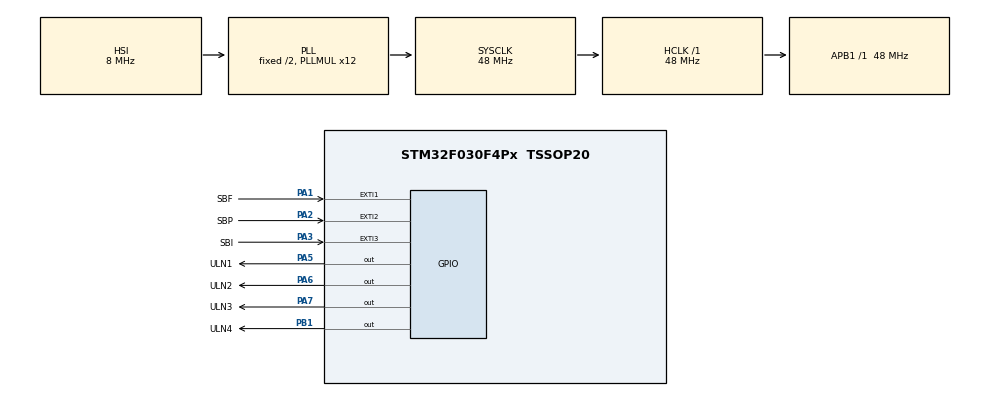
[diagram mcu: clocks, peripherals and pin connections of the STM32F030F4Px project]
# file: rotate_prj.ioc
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Mcu.Family=STM32F0
Mcu.Name=STM32F030F4Px
Mcu.Package=TSSOP20
NVIC.EXTI0_1_IRQn=true\:0\:0\:true\:false\:true\:true
NVIC.EXTI2_3_IRQn=true\:0\:0\:true\:false\:true\:true
PA1.GPIO_Label=SBF
PA1.Signal=GPXTI1
PA13.Mode=Serial_Wire
PA13.Signal=SYS_SWDIO
PA14.Mode=Serial_Wire
PA14.Signal=SYS_SWCLK
PA2.GPIO_Label=SBP
PA2.Signal=GPXTI2
PA3.GPIO_Label=SBI
PA3.Signal=GPXTI3
PA5.GPIO_Label=ULN1
PA5.Signal=GPIO_Output
PA6.GPIO_Label=ULN2
PA6.Signal=GPIO_Output
PA7.GPIO_Label=ULN3
PA7.Signal=GPIO_Output
PB1.GPIO_Label=ULN4
PB1.Signal=GPIO_Output
ProjectManager.HeapSize=0x200
ProjectManager.StackSize=0x400
ProjectManager.TargetToolchain=MDK-ARM V5
RCC.AHBFreq_Value=48000000
RCC.APB1Freq_Value=48000000
RCC.APB1TimFreq_Value=48000000
RCC.HCLKFreq_Value=48000000
RCC.PLLMUL=RCC_PLL_MUL12
RCC.SYSCLKFreq_VALUE=48000000
RCC.SYSCLKSource=RCC_SYSCLKSOURCE_PLLCLK
board=rotate_prj

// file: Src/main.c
/**
  ******************************************************************************
  * File Name          : main.c
  * Description        : Main program body
  ******************************************************************************
  ** This notice applies to any and all portions of this file
  * that are not between comment pairs USER CODE BEGIN and
  * USER CODE END. Other portions of this file, whether
  * inserted by the user or by software development tools
  * are owned by their respective copyright owners.
  *
  * COPYRIGHT(c) 2018 STMicroelectronics
  *
  * Redistribution and use in source and binary forms, with or without modification,
  * are permitted provided that the following conditions are met:
  *   1. Redistributions of source code must retain the above copyright notice,
  *      this list of conditions and the following disclaimer.
  *   2. Redistributions in binary form must reproduce the above copyright notice,
  *      this list of conditions and the following disclaimer in the documentation
  *      and/or other materials provided with the distribution.
  *   3. Neither the name of STMicroelectronics nor the names of its contributors
  *      may be used to endorse or promote products derived from this software
  *      without specific prior written permission.
  *
  * THIS SOFTWARE IS PROVIDED BY THE COPYRIGHT HOLDERS AND CONTRIBUTORS "AS IS"
  * AND ANY EXPRESS OR IMPLIED WARRANTIES, INCLUDING, BUT NOT LIMITED TO, THE
  * IMPLIED WARRANTIES OF MERCHANTABILITY AND FITNESS FOR A PARTICULAR PURPOSE ARE
  * DISCLAIMED. IN NO EVENT SHALL THE COPYRIGHT HOLDER OR CONTRIBUTORS BE LIABLE
  * FOR ANY DIRECT, INDIRECT, INCIDENTAL, SPECIAL, EXEMPLARY, OR CONSEQUENTIAL
  * DAMAGES (INCLUDING, BUT NOT LIMITED TO, PROCUREMENT OF SUBSTITUTE GOODS OR
  * SERVICES; LOSS OF USE, DATA, OR PROFITS; OR BUSINESS INTERRUPTION) HOWEVER
  * CAUSED AND ON ANY THEORY OF LIABILITY, WHETHER IN CONTRACT, STRICT LIABILITY,
  * OR TORT (INCLUDING NEGLIGENCE OR OTHERWISE) ARISING IN ANY WAY OUT OF THE USE
  * OF THIS SOFTWARE, EVEN IF ADVISED OF THE POSSIBILITY OF SUCH DAMAGE.
  *
  ******************************************************************************
  */
#include "main.h"
#include "stm32f0xx_hal.h"

/* USER CODE BEGIN Includes */
#include "stepper_conf.h"
/* USER CODE END Includes */

/* USER CODE BEGIN PV */
/* Private variables ---------------------------------------------------------*/
int Rotation_now = Off;
int Rotation_pre = Off;
int Rotation_tbl[4] = { 2, 1, 0, -1 };
/* USER CODE END PV */

void SystemClock_Config(void);
static void MX_GPIO_Init(void);

/* USER CODE BEGIN PFP */
/* Private function prototypes -----------------------------------------------*/

/* USER CODE END PFP */

int main(void)
{

  /* MCU Configuration----------------------------------------------------------*/

  /* Reset of all peripherals, Initializes the Flash interface and the Systick. */
  HAL_Init();

  /* Configure the system clock */
  SystemClock_Config();

  /* Initialize all configured peripherals */
  MX_GPIO_Init();

  /* USER CODE BEGIN 2 */
	Stepper(stepsPerRevolution);
	HAL_Delay(50);
	step(-15);
  /* USER CODE END 2 */

  /* Infinite loop */
  while (1)
  {

  /* USER CODE BEGIN 3 */
		if(Rotation_now != Rotation_pre){
				switch (Rotation_now){
					case In:
						step(Rotation_tbl[Rotation_now] * 3);
						Rotation_tbl[0] = 1; Rotation_tbl[1] = 0; Rotation_tbl[2] = -1; Rotation_tbl[3] = -2;
						Rotation_pre = Rotation_now;
					break;
					case Partial:
						step(Rotation_tbl[Rotation_now] * 3);
						Rotation_tbl[0] = 0; Rotation_tbl[1] = -1; Rotation_tbl[2] = -2; Rotation_tbl[3] = -3;
						Rotation_pre = Rotation_now;
					break;
					case Full:
						step(Rotation_tbl[Rotation_now] * 3);
						Rotation_tbl[0] = 3; Rotation_tbl[1] = 2; Rotation_tbl[2] = 1; Rotation_tbl[3] = 0;
						Rotation_pre = Rotation_now;
					break;
					case Off:
						step(Rotation_tbl[2] * 3);
						Rotation_tbl[0] = 2; Rotation_tbl[1] = 1; Rotation_tbl[2] = 0; Rotation_tbl[3] = -1;
						Rotation_pre = Rotation_now;
					default:
						break;
				}
		}
		if((HAL_GPIO_ReadPin(GPIOA, SBF_Pin) == 0)&&(HAL_GPIO_ReadPin(GPIOA, SBP_Pin) == 0)&&(HAL_GPIO_ReadPin(GPIOA, SBI_Pin) == 0)){
				Rotation_now = Off;
		}
  }
  /* USER CODE END 3 */
}

/** System Clock Configuration
*/
void SystemClock_Config(void)
{

  RCC_OscInitTypeDef RCC_OscInitStruct;
  RCC_ClkInitTypeDef RCC_ClkInitStruct;

    /**Initializes the CPU, AHB and APB busses clocks
    */
  RCC_OscInitStruct.OscillatorType = RCC_OSCILLATORTYPE_HSI;
  RCC_OscInitStruct.HSIState = RCC_HSI_ON;
  RCC_OscInitStruct.HSICalibrationValue = 16;
  RCC_OscInitStruct.PLL.PLLState = RCC_PLL_ON;
  RCC_OscInitStruct.PLL.PLLSource = RCC_PLLSOURCE_HSI;
  RCC_OscInitStruct.PLL.PLLMUL = RCC_PLL_MUL12;
  RCC_OscInitStruct.PLL.PREDIV = RCC_PREDIV_DIV1;
  if (HAL_RCC_OscConfig(&RCC_OscInitStruct) != HAL_OK)
  {
    _Error_Handler(__FILE__, __LINE__);
  }

    /**Initializes the CPU, AHB and APB busses clocks
    */
  RCC_ClkInitStruct.ClockType = RCC_CLOCKTYPE_HCLK|RCC_CLOCKTYPE_SYSCLK
                              |RCC_CLOCKTYPE_PCLK1;
  RCC_ClkInitStruct.SYSCLKSource = RCC_SYSCLKSOURCE_PLLCLK;
  RCC_ClkInitStruct.AHBCLKDivider = RCC_SYSCLK_DIV1;
  RCC_ClkInitStruct.APB1CLKDivider = RCC_HCLK_DIV1;

  if (HAL_RCC_ClockConfig(&RCC_ClkInitStruct, FLASH_LATENCY_1) != HAL_OK)
  {
    _Error_Handler(__FILE__, __LINE__);
  }

    /**Configure the Systick interrupt time
    */
  HAL_SYSTICK_Config(HAL_RCC_GetHCLKFreq()/1000);

    /**Configure the Systick
    */
  HAL_SYSTICK_CLKSourceConfig(SYSTICK_CLKSOURCE_HCLK);

  /* SysTick_IRQn interrupt configuration */
  HAL_NVIC_SetPriority(SysTick_IRQn, 0, 0);
}

/** Configure pins as
        * Analog
        * Input
        * Output
        * EVENT_OUT
        * EXTI
*/
static void MX_GPIO_Init(void)
{

  GPIO_InitTypeDef GPIO_InitStruct;

  /* GPIO Ports Clock Enable */
  __HAL_RCC_GPIOA_CLK_ENABLE();
  __HAL_RCC_GPIOB_CLK_ENABLE();

  /*Configure GPIO pin Output Level */
  HAL_GPIO_WritePin(GPIOA, ULN1_Pin|ULN2_Pin|ULN3_Pin, GPIO_PIN_RESET);

  /*Configure GPIO pin Output Level */
  HAL_GPIO_WritePin(ULN4_GPIO_Port, ULN4_Pin, GPIO_PIN_RESET);

  /*Configure GPIO pins : SBF_Pin SBP_Pin SBI_Pin */
  GPIO_InitStruct.Pin = SBF_Pin|SBP_Pin|SBI_Pin;
  GPIO_InitStruct.Mode = GPIO_MODE_IT_RISING;
  GPIO_InitStruct.Pull = GPIO_NOPULL;
  HAL_GPIO_Init(GPIOA, &GPIO_InitStruct);

  /*Configure GPIO pins : ULN1_Pin ULN2_Pin ULN3_Pin */
  GPIO_InitStruct.Pin = ULN1_Pin|ULN2_Pin|ULN3_Pin;
  GPIO_InitStruct.Mode = GPIO_MODE_OUTPUT_PP;
  GPIO_InitStruct.Pull = GPIO_NOPULL;
  GPIO_InitStruct.Speed = GPIO_SPEED_FREQ_LOW;
  HAL_GPIO_Init(GPIOA, &GPIO_InitStruct);

  /*Configure GPIO pin : ULN4_Pin */
  GPIO_InitStruct.Pin = ULN4_Pin;
  GPIO_InitStruct.Mode = GPIO_MODE_OUTPUT_PP;
  GPIO_InitStruct.Pull = GPIO_NOPULL;
  GPIO_InitStruct.Speed = GPIO_SPEED_FREQ_LOW;
  HAL_GPIO_Init(ULN4_GPIO_Port, &GPIO_InitStruct);

  /* EXTI interrupt init*/
  HAL_NVIC_SetPriority(EXTI0_1_IRQn, 0, 0);
  HAL_NVIC_EnableIRQ(EXTI0_1_IRQn);

  HAL_NVIC_SetPriority(EXTI2_3_IRQn, 0, 0);
  HAL_NVIC_EnableIRQ(EXTI2_3_IRQn);

}

void _Error_Handler(char * file, int line)
{
  while(1)
  {
  }
}

/************************ (C) COPYRIGHT STMicroelectronics *****END OF FILE****/
